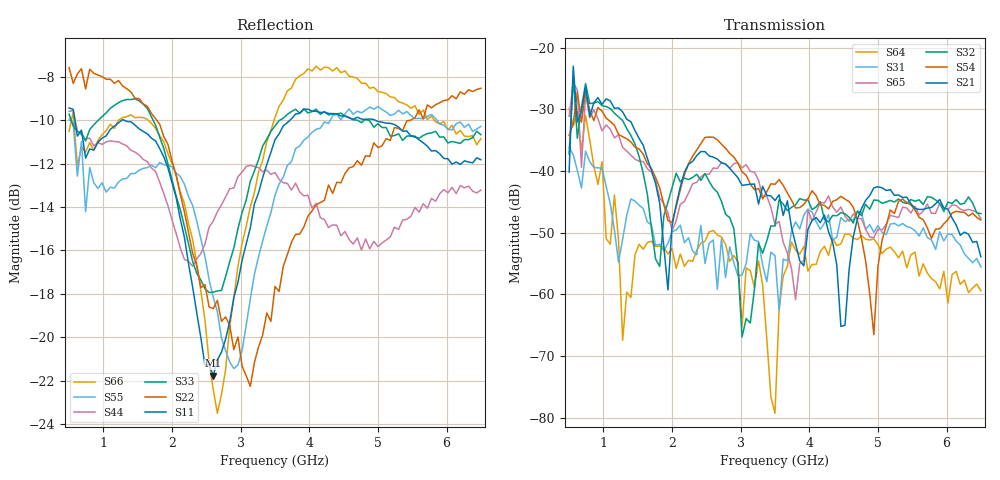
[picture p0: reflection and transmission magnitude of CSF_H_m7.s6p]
!Keysight Technologies,M9804A,MY58100912,A.14.10.03
!Date: Thursday, April 27, 2023 10:28:33
!Correction: S11(C  6-Port  )
!S12(C  6-Port  )
!S13(C  6-Port  )
!S14(C  6-Port  )
!S15(C  6-Port  )
!S16(C  6-Port  )
!S21(C  6-Port  )
!S22(C  6-Port  )
!S23(C  6-Port  )
!S24(C  6-Port  )
!S25(C  6-Port  )
!S26(C  6-Port  )
!S31(C  6-Port  )
!S32(C  6-Port  )
!S33(C  6-Port  )
!S34(C  6-Port  )
!S35(C  6-Port  )
!S36(C  6-Port  )
!S41(C  6-Port  )
!S42(C  6-Port  )
!S43(C  6-Port  )
!S44(C  6-Port  )
!S45(C  6-Port  )
!S46(C  6-Port  )
!S51(C  6-Port  )
!S52(C  6-Port  )
!S53(C  6-Port  )
!S54(C  6-Port  )
!S55(C  6-Port  )
!S56(C  6-Port  )
!S61(C  6-Port  )
!S62(C  6-Port  )
!S63(C  6-Port  )
!S64(C  6-Port  )
!S65(C  6-Port  )
!S66(C  6-Port  )
!S6P File: Measurement: :
# Hz S  RI  R 50
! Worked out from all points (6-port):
!   101 points, 500 MHz to 6.5 GHz, reference 50 ohm
!   strongest paths, dB at 500 MHz, 2 GHz, 3.5 GHz, 5 GHz, 6.5 GHz:
!     S21: -40.2, -48.9, -44.8, -42.6, -53.9
!     S54: -34.2, -48.4, -42.2, -55.5, -48.0
!     S32: -37.3, -42.7, -48.9, -44.8, -46.9
!     S65: -31.1, -49.6, -48.7, -49.5, -47.7
!     S31: -36.2, -49.9, -53.7, -48.8, -55.6
!     S64: -29.9, -52.6, -79.3, -52.0, -59.4
!   lowest |S11| = -21.8 dB at 2.6 GHz (marker M1), VSWR 1.18, Z = 42.7 + j1.98 ohm
!   |S11| at or under -10 dB: 584.6 MHz to 1.267 GHz (682.2 MHz wide, 73.7 % of centre); 1.304 GHz to 3.717 GHz (2.414 GHz wide, 96.1 % of centre); 4.963 GHz to end of sweep
